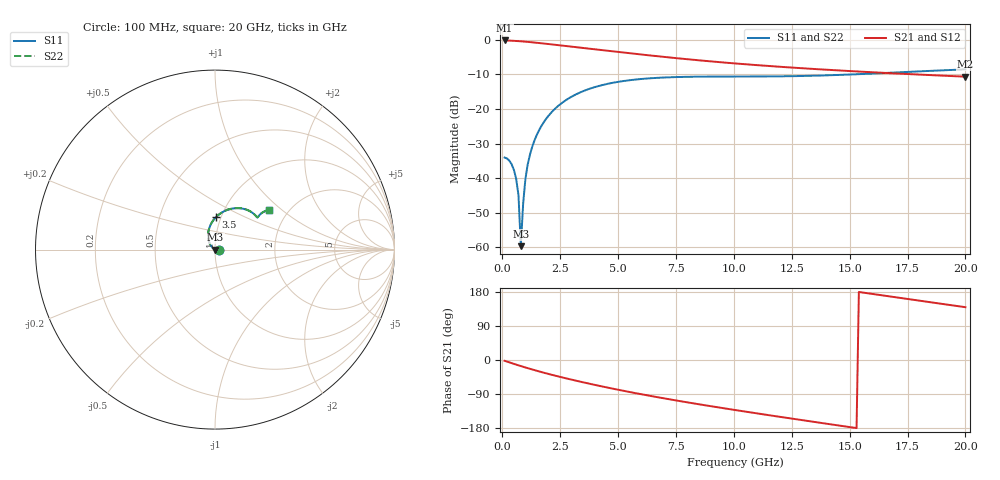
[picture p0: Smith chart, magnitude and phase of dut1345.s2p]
! Touchstone file exported from HFSS 2024.1.0
!  File:  C:/UserFiles/LocalFiles/RDL_TSV_Batchsim/temp_RDL_TSV_1345_1780392654.aedt
!  Generated:  05:44:43 PM Jun  2, 2026
!  Design:  RDL_TSV
!  Project:  temp_RDL_TSV_1345_1780392654
!  Setup:  Setup1
!  Solution:  Sweep
! Variables:
!  dtsv = 13.82um
!  hbump = 3um
!  htsv = 80.29um
!  ldown = 307.61um
!  lrdl = 502.1um
!  p = 40
!  p1 = 52.25um
!  rhole = 10um
!  subl = 2931.23um
!  t = 450um
!  tdown = 2.41um
!  trdl = 3.02um
!  viad = 10um
!  wdown = 20.09um
!  wrdl = 17.74um
!  xbump = 18um
# GHz S MA R 50.000000
! Terminal data exported
! Port[1] = TM1_1_T1
! Port[2] = TM1_4_T1
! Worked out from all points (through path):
!   200 points, 100 MHz to 20 GHz, reference 50 ohm
!   highest |S21| = -0.18 dB at 100 MHz (marker M1); lowest = -10.7 dB at 20 GHz (marker M2)
!   group delay of S21, straight-line fit = 28.7 ps
!   lowest |S11| = -59.7 dB at 800 MHz (marker M3), VSWR 1.00, Z = 50.1 - j0.00661 ohm
!   |S11| at or under -10 dB: start of sweep to 15.15 GHz
!   |S22| runs from -59.8 to -8.5 dB; largest |S21 - S12| = 6.3e-14
!   S11 on the Smith chart (normalised r, x): 100 MHz: 1.04, -0.00; 3.5 GHz: 0.95, +0.36; 20 GHz: 1.61, +0.82
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0.1  0.01985 -1.7  0.9793 -2.1  0.9793 -2.1  0.01985 -1.7
! Gamma 0 0 0 0
! Port Impedance 50 0 50 0
0.4  0.01596 -10.0  0.9716 -8.2  0.9716 -8.2  0.01596 -10.0
0.5  0.0132 -13.2  0.9676 -10.2  0.9676 -10.2  0.01319 -13.3
0.6  0.009739 -16.2  0.9631 -12.2  0.9631 -12.2  0.009728 -16.2
0.7  0.005647 -18.1  0.9581 -14.1  0.9581 -14.1  0.005632 -18.1
0.8  0.001037 -3.6  0.9526 -16.0  0.9526 -16.0  0.001018 -3.8
0.9  0.004236 146.0  0.9468 -17.9  0.9468 -17.9  0.004256 146.1
1  0.009862 145.6  0.9406 -19.8  0.9406 -19.8  0.009886 145.7
1.1  0.01589 143.2  0.9341 -21.6  0.9341 -21.6  0.01592 143.3
1.2  0.02227 140.5  0.9273 -23.4  0.9273 -23.4  0.0223 140.5
1.4  0.03585 134.7  0.9132 -26.9  0.9132 -26.9  0.03589 134.8
1.7  0.05759 126.4  0.8913 -32.0  0.8913 -32.0  0.05766 126.5
2.2  0.09501 113.9  0.8542 -40.1  0.8542 -40.1  0.09511 113.9
2.8  0.1379 100.8  0.8107 -49.1  0.8107 -49.1  0.1381 100.9
3.5  0.1815 88.1  0.7624 -59.0  0.7624 -59.0  0.1817 88.1
4.9  0.2435 68.7  0.6742 -77.2  0.6742 -77.2  0.2439 68.7
6.8  0.2833 51.7  0.5746 -99.2  0.5746 -99.2  0.2837 51.7
8.4  0.2932 43.3  0.5088 -115.9  0.5088 -115.9  0.2937 43.3
10.1  0.2946 38.7  0.4542 -132.5  0.4542 -132.5  0.2952 38.7
13.4  0.3024 37.3  0.3798 -162.7  0.3798 -162.7  0.3029 37.3
16.7  0.3335 38.0  0.33 168.0  0.33 168.0  0.334 38.0
20  0.3741 36.0  0.2934 139.4  0.2934 139.4  0.3746 36.0
